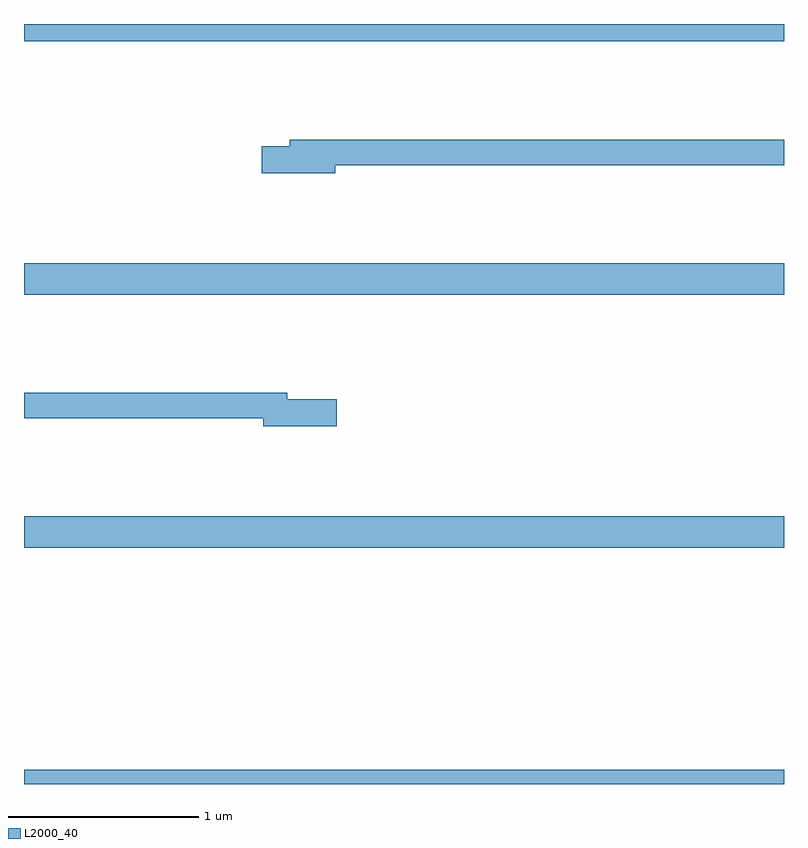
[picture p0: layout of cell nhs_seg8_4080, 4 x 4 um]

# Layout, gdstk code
import gdstk
lib = gdstk.Library(unit=1e-6, precision=1e-09)
def R(c, l, rs):  # rectangles x0, y0, x1, y1
    for r in rs: c.add(gdstk.rectangle(r[:2], r[2:], *l))
def P(c, l, *ps):  # polygons
    for p in ps: c.add(gdstk.Polygon(p, *l))
L2000_40 = (2000, 40)

nhs_seg8_4080 = lib.new_cell('nhs_seg8_4080')
R(nhs_seg8_4080, L2000_40, [(361,1137.9,365,1137.976), (361,1139.144,365,1139.308), (361,1140.476,365,1140.64), (361,1141.808,365,1141.9)])
P(nhs_seg8_4080, L2000_40, [(362.638,1141.156),(365,1141.156),(365,1141.292),(362.399,1141.292),(362.399,1141.256),(362.25,1141.256),(362.25,1141.114),(362.638,1141.114)],
  [(362.647,1139.924),(362.386,1139.924),(362.386,1139.96),(361,1139.96),(361,1139.824),(362.258,1139.824),(362.258,1139.782),(362.647,1139.782)])

lib.write_gds('nhs_seg8_4080.gds')
